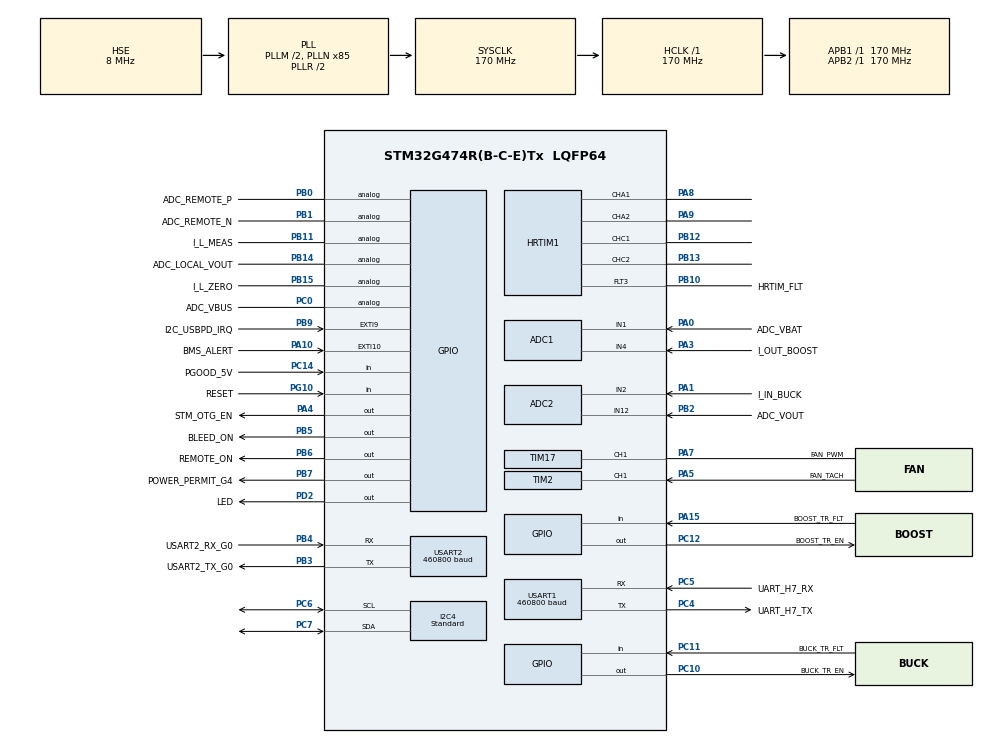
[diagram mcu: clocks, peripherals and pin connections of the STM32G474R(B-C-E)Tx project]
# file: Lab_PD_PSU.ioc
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HRTIM1.ADCTrigger1_Source1=HRTIM_ADCTRIGGEREVENT13_TIMERA_CMP3
HRTIM1.ADCTrigger_Id1=HRTIM_ADCTRIGGER_1
HRTIM1.CompareUnit1-Output_TA1TA2=HRTIM_COMPAREUNIT_1
HRTIM1.CompareUnit1-Output_TC1TC2=HRTIM_COMPAREUNIT_1
HRTIM1.CompareUnit3-Output_TA1TA2=HRTIM_COMPAREUNIT_3
HRTIM1.CompareValue1-Output_TA1TA2=2000
HRTIM1.CompareValue1-Output_TC1TC2=2000
HRTIM1.CompareValue3-Output_TA1TA2=2000
HRTIM1.DeadTimeInsertion-Output_TA1TA2=HRTIM_TIMDEADTIMEINSERTION_ENABLED
HRTIM1.DeadTimeInsertion-Output_TC1TC2=HRTIM_TIMDEADTIMEINSERTION_ENABLED
HRTIM1.FallingValue-Output_TA1TA2=5
HRTIM1.FallingValue-Output_TC1TC2=5
HRTIM1.FaultSource_FLT3=HRTIM_FAULTSOURCE_DIGITALINPUT
HRTIM1.Polarity_FLT3=HRTIM_FAULTPOLARITY_LOW
HRTIM1.NumberADCTriggerSource1=1
HRTIM1.NumberResetSource1-Output_TA1TA2=1
HRTIM1.NumberResetSource1-Output_TC1TC2=1
HRTIM1.NumberSetSource1-Output_TA1TA2=1
HRTIM1.NumberSetSource1-Output_TC1TC2=1
HRTIM1.ORingUpdateSource_ADCTrigger1=HRTIM_ADCTRIGGERUPDATE_TIMER_A
HRTIM1.Periode_TA=5440
HRTIM1.Periode_TC=5440
HRTIM1.PrescalerDead-Output_TA1TA2=HRTIM_TIMDEADTIME_PRESCALERRATIO_DIV4
HRTIM1.PrescalerDead-Output_TC1TC2=HRTIM_TIMDEADTIME_PRESCALERRATIO_DIV4
HRTIM1.ResetOutput1_Source1-Output_TA1TA2=HRTIM_OUTPUTRESET_TIMCMP1
HRTIM1.ResetOutput1_Source1-Output_TC1TC2=HRTIM_OUTPUTRESET_TIMCMP1
HRTIM1.RisingValue-Output_TA1TA2=5
HRTIM1.RisingValue-Output_TC1TC2=5
HRTIM1.SetOutput1_Source1-Output_TA1TA2=HRTIM_OUTPUTSET_TIMPER
HRTIM1.SetOutput1_Source1-Output_TC1TC2=HRTIM_OUTPUTSET_TIMPER
HRTIM1.postscaler1=0
I2C4.CustomTiming=Disabled
I2C4.I2C_Speed_Mode=I2C_Standard
I2C4.Timing=0x40B285C2
ADC1.Channel-2\#ChannelRegularConversion=ADC_CHANNEL_4
ADC1.Channel-3\#ChannelRegularConversion=ADC_CHANNEL_1
ADC1.DMAContinuousRequests=ENABLE
ADC1.ExternalTrigConv=ADC_EXTERNALTRIG_HRTIM_TRG1
ADC1.NbrOfConversion=2
ADC1.NbrOfConversionFlag=1
ADC1.OffsetNumber-2\#ChannelRegularConversion=ADC_OFFSET_NONE
ADC1.OffsetNumber-3\#ChannelRegularConversion=ADC_OFFSET_NONE
ADC1.Rank-2\#ChannelRegularConversion=1
ADC1.Rank-3\#ChannelRegularConversion=2
ADC1.SamplingTime-2\#ChannelRegularConversion=ADC_SAMPLETIME_6CYCLES_5
ADC1.SamplingTime-3\#ChannelRegularConversion=ADC_SAMPLETIME_24CYCLES_5
ADC1.master=1
ADC2.Channel-1\#ChannelRegularConversion=ADC_CHANNEL_2
ADC2.Channel-2\#ChannelRegularConversion=ADC_CHANNEL_12
ADC2.DMAContinuousRequests=ENABLE
ADC2.ExternalTrigConv=ADC_EXTERNALTRIG_HRTIM_TRG1
ADC2.NbrOfConversion=2
ADC2.NbrOfConversionFlag=1
ADC2.OffsetNumber-1\#ChannelRegularConversion=ADC_OFFSET_NONE
ADC2.OffsetNumber-2\#ChannelRegularConversion=ADC_OFFSET_NONE
ADC2.OversamplingMode=DISABLE
ADC2.Rank-1\#ChannelRegularConversion=1
ADC2.Rank-2\#ChannelRegularConversion=2
ADC2.SamplingTime-1\#ChannelRegularConversion=ADC_SAMPLETIME_6CYCLES_5
ADC2.SamplingTime-2\#ChannelRegularConversion=ADC_SAMPLETIME_24CYCLES_5
Dma.ADC1.0.Direction=DMA_PERIPH_TO_MEMORY
Dma.ADC1.0.EventEnable=DISABLE
Dma.ADC1.0.Instance=DMA1_Channel1
Dma.ADC1.0.MemDataAlignment=DMA_MDATAALIGN_HALFWORD
Dma.ADC1.0.MemInc=DMA_MINC_ENABLE
Dma.ADC1.0.Mode=DMA_CIRCULAR
Dma.ADC1.0.PeriphDataAlignment=DMA_PDATAALIGN_HALFWORD
Dma.ADC1.0.PeriphInc=DMA_PINC_DISABLE
Dma.ADC1.0.Polarity=HAL_DMAMUX_REQ_GEN_RISING
Dma.ADC1.0.Priority=DMA_PRIORITY_HIGH
Dma.ADC1.0.RequestNumber=1
Dma.ADC1.0.SignalID=NONE
Dma.ADC1.0.SyncEnable=DISABLE
Dma.ADC1.0.SyncPolarity=HAL_DMAMUX_SYNC_NO_EVENT
Dma.ADC1.0.SyncRequestNumber=1
Dma.ADC1.0.SyncSignalID=NONE
Dma.ADC2.1.Direction=DMA_PERIPH_TO_MEMORY
Dma.ADC2.1.EventEnable=DISABLE
Dma.ADC2.1.Instance=DMA1_Channel2
Dma.ADC2.1.MemDataAlignment=DMA_MDATAALIGN_HALFWORD
Dma.ADC2.1.MemInc=DMA_MINC_ENABLE
Dma.ADC2.1.Mode=DMA_CIRCULAR
Dma.ADC2.1.PeriphDataAlignment=DMA_PDATAALIGN_HALFWORD
Dma.ADC2.1.PeriphInc=DMA_PINC_DISABLE
Dma.ADC2.1.Polarity=HAL_DMAMUX_REQ_GEN_RISING
Dma.ADC2.1.Priority=DMA_PRIORITY_HIGH
Dma.ADC2.1.RequestNumber=1
Dma.ADC2.1.SignalID=NONE
Dma.ADC2.1.SyncEnable=DISABLE
Dma.ADC2.1.SyncPolarity=HAL_DMAMUX_SYNC_NO_EVENT
Dma.ADC2.1.SyncRequestNumber=1
Dma.ADC2.1.SyncSignalID=NONE
Dma.Request0=ADC1
Dma.Request1=ADC2
Mcu.Family=STM32G4
Mcu.Name=STM32G474R(B-C-E)Tx
Mcu.Package=LQFP64
NVIC.ADC1_2_IRQn=true\:0\:0\:false\:false\:true\:true\:true\:true
NVIC.DMA1_Channel1_IRQn=true\:1\:0\:true\:false\:true\:false\:true\:true
NVIC.DMA1_Channel2_IRQn=true\:1\:0\:true\:false\:true\:false\:true\:true
NVIC.EXTI15_10_IRQn=true\:5\:0\:true\:false\:true\:true\:true\:true
NVIC.EXTI9_5_IRQn=true\:5\:0\:true\:false\:true\:true\:true\:true
NVIC.I2C4_ER_IRQn=true\:6\:0\:true\:false\:true\:true\:true\:true
NVIC.I2C4_EV_IRQn=true\:6\:0\:true\:false\:true\:true\:true\:true
NVIC.PriorityGroup=NVIC_PRIORITYGROUP_4
NVIC.USART1_IRQn=true\:5\:0\:true\:false\:true\:true\:true\:true
NVIC.USART2_IRQn=true\:1\:0\:true\:false\:true\:true\:true\:true
PA0.GPIO_Label=ADC_VBAT
PA0.Mode=IN1-Single-Ended
PA0.Signal=ADC1_IN1
PA1.GPIO_Label=I_IN_BUCK
PA1.Mode=IN2-Single-Ended
PA1.Signal=ADC2_IN2
PA3.GPIO_Label=I_OUT_BOOST
PA3.Mode=IN4-Single-Ended
PA3.Signal=ADC1_IN4
PA4.GPIO_Label=STM_OTG_EN
PA4.GPIO_OutputLevel=GPIO_PIN_SET
PA4.Signal=GPIO_Output
PA5.GPIO_Label=FAN_TACH
PA5.GPIO_ModeDefaultAF=GPIO_AF1_TIM2
PA5.Mode=TIM_Input_Capture_Direct_Mode
PA5.Signal=TIM2_CH1
PA7.GPIO_Label=FAN_PWM
PA7.GPIO_ModeDefaultAF=GPIO_AF1_TIM17
PA7.Mode=TIM_PWM_Generation1_CH1
PA7.Signal=TIM17_CH1
PA8.Mode=Output_TA1TA2
PA8.Signal=HRTIM1_CHA1
PA9.Mode=Output_TA1TA2
PA9.Signal=HRTIM1_CHA2
PA10.GPIO_Label=BMS_ALERT
PA10.GPIO_ModeDefaultEXTI=GPIO_MODE_IT_RISING_FALLING
PA10.Mode=External Interrupt Mode with Rising/Falling edge trigger detection
PA10.Signal=GPXTI10
PA13.Mode=Serial_Wire
PA13.Signal=SYS_JTMS-SWDIO
PA14.Mode=Serial_Wire
PA14.Signal=SYS_JTCK-SWCLK
PA15.GPIO_Label=BOOST_TR_FLT
PA15.Signal=GPIO_Input
PB0.GPIO_Label=ADC_REMOTE_P
PB0.Signal=GPIO_Analog
PB1.GPIO_Label=ADC_REMOTE_N
PB1.Signal=GPIO_Analog
PB2.GPIO_Label=ADC_VOUT
PB2.Mode=IN12-Single-Ended
PB2.Signal=ADC2_IN12
PB3.GPIO_Label=USART2_TX_G0
PB3.Mode=Asynchronous
PB3.Signal=USART2_TX
PB4.GPIO_Label=USART2_RX_G0
PB4.Mode=Asynchronous
PB4.Signal=USART2_RX
PB5.GPIO_Label=BLEED_ON
PB5.GPIO_OutputLevel=GPIO_PIN_RESET
PB5.Signal=GPIO_Output
PB6.GPIO_Label=REMOTE_ON
PB6.GPIO_OutputLevel=GPIO_PIN_RESET
PB6.Signal=GPIO_Output
PB7.GPIO_Label=POWER_PERMIT_G4
PB7.GPIO_OutputLevel=GPIO_PIN_RESET
PB7.Signal=GPIO_Output
PB9.GPIO_Label=I2C_USBPD_IRQ
PB9.GPIO_ModeDefaultEXTI=GPIO_MODE_IT_FALLING
PB9.Mode=External Interrupt Mode with Falling edge trigger detection
PB9.Signal=GPXTI9
PB10.GPIO_Label=HRTIM_FLT
PB10.Mode=Faults3
PB10.Signal=HRTIM1_FLT3
PB11.GPIO_Label=I_L_MEAS
PB11.Signal=GPIO_Analog
PB12.Mode=Output_TC1TC2
PB12.Signal=HRTIM1_CHC1
PB13.Mode=Output_TC1TC2
PB13.Signal=HRTIM1_CHC2
PB14.GPIO_Label=ADC_LOCAL_VOUT
PB14.Signal=GPIO_Analog
PB15.GPIO_Label=I_L_ZERO
PB15.Signal=GPIO_Analog
PC0.GPIO_Label=ADC_VBUS
PC0.Signal=GPIO_Analog
PC4.GPIO_Label=UART_H7_TX
PC4.Mode=Asynchronous
PC4.Signal=USART1_TX
PC5.GPIO_Label=UART_H7_RX
PC5.Mode=Asynchronous
PC5.Signal=USART1_RX
PC6.Mode=I2C
PC6.Signal=I2C4_SCL
PC7.Mode=I2C
PC7.Signal=I2C4_SDA
PC10.GPIO_Label=BUCK_TR_EN
PC10.GPIO_OutputLevel=GPIO_PIN_RESET
PC10.Signal=GPIO_Output
PC11.GPIO_Label=BUCK_TR_FLT
PC11.Signal=GPIO_Input
PC12.GPIO_Label=BOOST_TR_EN
PC12.GPIO_OutputLevel=GPIO_PIN_RESET
PC12.Signal=GPIO_Output
PC14-OSC32_IN.GPIO_Label=PGOOD_5V
PC14-OSC32_IN.Signal=GPIO_Input
PD2.GPIO_Label=LED
PD2.GPIO_OutputLevel=GPIO_PIN_RESET
PD2.Signal=GPIO_Output
PF0-OSC_IN.Mode=HSE-External-Oscillator
PF0-OSC_IN.Signal=RCC_OSC_IN
PF1-OSC_OUT.Mode=HSE-External-Oscillator
PF1-OSC_OUT.Signal=RCC_OSC_OUT
PG10-NRST.GPIO_Label=RESET
PG10-NRST.Signal=GPIO_Input
ProjectManager.HeapSize=0x200
ProjectManager.StackSize=0x400
ProjectManager.TargetToolchain=CMake
RCC.ADC12Freq_Value=170000000
RCC.ADC345Freq_Value=170000000
RCC.AHBFreq_Value=170000000
RCC.APB1Freq_Value=170000000
RCC.APB1TimFreq_Value=170000000
RCC.APB2Freq_Value=170000000
RCC.APB2TimFreq_Value=170000000
RCC.CortexFreq_Value=170000000
RCC.EXTERNAL_CLOCK_VALUE=12288000
RCC.HCLKFreq_Value=170000000
RCC.HSE_VALUE=8000000
RCC.HSI48_VALUE=48000000
RCC.HSI_VALUE=16000000
RCC.LSE_VALUE=32768
RCC.PLLM=RCC_PLLM_DIV2
RCC.PLLN=85
RCC.PLLSourceVirtual=RCC_PLLSOURCE_HSE
RCC.SYSCLKFreq_VALUE=170000000
RCC.SYSCLKSource=RCC_SYSCLKSOURCE_PLLCLK
RCC.USBFreq_Value=170000000
RCC.VCOOutputFreq_Value=340000000
USART1.BaudRate=460800
USART1.VirtualMode-Asynchronous=VM_ASYNC
USART2.BaudRate=460800
USART2.VirtualMode-Asynchronous=VM_ASYNC
VP_HRTIM1_VS_hrtimMasterTimerNoOutput.Mode=MasterTimer
VP_SYS_VS_DBSignals.Mode=DisableDeadBatterySignals
board=custom
HRTIM1.Fault_Line3=HRTIM_FAULT_3
HRTIM1.Source_FLT3=HRTIM_FAULTSOURCE_DIGITALINPUT
HRTIM1.Filter_FLT3=HRTIM_FAULTFILTER_NONE
HRTIM1.Lock_FLT3=HRTIM_FAULTLOCK_READWRITE
HRTIM1.NumberFaultEnable-Output_TA1TA2=1
HRTIM1.NumberFaultEnable-Output_TC1TC2=1
HRTIM1.FaultEnable1-Output_TA1TA2=HRTIM_TIMFAULTENABLE_FAULT3
HRTIM1.FaultEnable1-Output_TC1TC2=HRTIM_TIMFAULTENABLE_FAULT3
HRTIM1.FaultLevel1-Output_TA1TA2=HRTIM_OUTPUTFAULTLEVEL_INACTIVE
HRTIM1.FaultLevel1-Output_TC1TC2=HRTIM_OUTPUTFAULTLEVEL_INACTIVE
HRTIM1.FaultLevel2-Output_TA1TA2=HRTIM_OUTPUTFAULTLEVEL_INACTIVE
HRTIM1.FaultLevel2-Output_TC1TC2=HRTIM_OUTPUTFAULTLEVEL_INACTIVE
HRTIM1.FaultLock-Output_TA1TA2=HRTIM_TIMFAULTLOCK_READWRITE
HRTIM1.FaultLock-Output_TC1TC2=HRTIM_TIMFAULTLOCK_READWRITE
PA5.GPIO_PuPd=GPIO_PULLUP
PA10.GPIO_PuPd=GPIO_PULLUP
PA15.GPIO_PuPd=GPIO_PULLUP
PB3.GPIO_PuPd=GPIO_PULLUP
PB4.GPIO_PuPd=GPIO_PULLUP
PB9.GPIO_PuPd=GPIO_PULLUP
PC11.GPIO_PuPd=GPIO_PULLUP
PC14-OSC32_IN.GPIO_PuPd=GPIO_PULLUP
PB10.GPIO_PuPd=GPIO_PULLUP
PC6.GPIO_PuPd=GPIO_PULLUP
PC6.GPIO_Speed=GPIO_SPEED_FREQ_VERY_HIGH
PC7.GPIO_PuPd=GPIO_PULLUP
PC7.GPIO_Speed=GPIO_SPEED_FREQ_VERY_HIGH

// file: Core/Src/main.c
/* USER CODE BEGIN Header */
/* USER CODE END Header */
#include "main.h"

/* USER CODE BEGIN Includes */
#include "app.h"
#include "board_mx.h"
#include "board_rev.h"
#include "ldo_link.h"
#include "ldo_prereg.h"
#include "host_link.h"
#include "power_stage.h"
/* USER CODE END Includes */

ADC_HandleTypeDef hadc1;
ADC_HandleTypeDef hadc2;
DMA_HandleTypeDef hdma_adc1;
DMA_HandleTypeDef hdma_adc2;

HRTIM_HandleTypeDef hhrtim1;

I2C_HandleTypeDef hi2c4;

UART_HandleTypeDef huart1;
UART_HandleTypeDef huart2;

void SystemClock_Config(void);
static void MX_GPIO_Init(void);
static void MX_DMA_Init(void);
static void MX_I2C4_Init(void);
static void MX_USART1_UART_Init(void);
static void MX_USART2_UART_Init(void);
static void MX_ADC1_Init(void);
static void MX_ADC2_Init(void);
static void MX_HRTIM1_Init(void);

int main(void)
{

  /* MCU Configuration--------------------------------------------------------*/

  /* Reset of all peripherals, Initializes the Flash interface and the Systick. */
  HAL_Init();

  /* Configure the system clock */
  SystemClock_Config();

  /* USER CODE BEGIN SysInit */
  /* Stable hook if CubeMX rewrites SystemClock_Config without OscConfig USER CODE. */
  if (BoardMx_EnsureSysclkPll() != HAL_OK)
  {
    Error_Handler();
  }
  /* USER CODE END SysInit */

  /* Initialize all configured peripherals */
  MX_GPIO_Init();
  BoardMx_EarlyLedPulse(4U);
  MX_DMA_Init();
  MX_I2C4_Init();
  MX_USART1_UART_Init();
  MX_USART2_UART_Init();
  MX_ADC1_Init();
  MX_ADC2_Init();
  MX_HRTIM1_Init();
  /* USER CODE BEGIN 2 */
  App_Init(&hhrtim1, &hadc1, &hadc2, &huart1, &hi2c4);
    HostLink_Init(&huart1);
    LdoLink_Init(&huart2);
    LdoPrereg_Init();

  /* USER CODE END 2 */

  /* Infinite loop */
  /* USER CODE BEGIN WHILE */
  while (1)
  {
      App_Run();
  }
    /* USER CODE END WHILE */

}

void SystemClock_Config(void)
{
  RCC_OscInitTypeDef RCC_OscInitStruct = {0};
  RCC_ClkInitTypeDef RCC_ClkInitStruct = {0};

  /** Configure the main internal regulator output voltage
  */
  HAL_PWREx_ControlVoltageScaling(PWR_REGULATOR_VOLTAGE_SCALE1_BOOST);

  /** Initializes the RCC Oscillators according to the specified parameters
  * in the RCC_OscInitTypeDef structure.
  */
  RCC_OscInitStruct.OscillatorType = RCC_OSCILLATORTYPE_HSE;
  RCC_OscInitStruct.HSEState = RCC_HSE_ON;
  RCC_OscInitStruct.PLL.PLLState = RCC_PLL_ON;
  RCC_OscInitStruct.PLL.PLLSource = RCC_PLLSOURCE_HSE;
  RCC_OscInitStruct.PLL.PLLM = RCC_PLLM_DIV2;
  RCC_OscInitStruct.PLL.PLLN = 85;
  RCC_OscInitStruct.PLL.PLLP = RCC_PLLP_DIV2;
  RCC_OscInitStruct.PLL.PLLQ = RCC_PLLQ_DIV2;
  RCC_OscInitStruct.PLL.PLLR = RCC_PLLR_DIV2;
  if (HAL_RCC_OscConfig(&RCC_OscInitStruct) != HAL_OK)
  {
    /* USER CODE BEGIN Clock_OscConfig_Error */
    /* Keep User Code: CubeMX may wrap Error_Handler here; keep the HSI PLL call. */
    if (BoardMx_StartHsiPll() != HAL_OK)
    {
      Error_Handler();
    }
    /* USER CODE END Clock_OscConfig_Error */
  }

  /** Initializes the CPU, AHB and APB buses clocks
  */
  RCC_ClkInitStruct.ClockType = RCC_CLOCKTYPE_HCLK|RCC_CLOCKTYPE_SYSCLK
                              |RCC_CLOCKTYPE_PCLK1|RCC_CLOCKTYPE_PCLK2;
  RCC_ClkInitStruct.SYSCLKSource = RCC_SYSCLKSOURCE_PLLCLK;
  RCC_ClkInitStruct.AHBCLKDivider = RCC_SYSCLK_DIV1;
  RCC_ClkInitStruct.APB1CLKDivider = RCC_HCLK_DIV1;
  RCC_ClkInitStruct.APB2CLKDivider = RCC_HCLK_DIV1;

  if (HAL_RCC_ClockConfig(&RCC_ClkInitStruct, FLASH_LATENCY_4) != HAL_OK)
  {
    Error_Handler();
  }
}

static void MX_ADC1_Init(void)
{

  ADC_MultiModeTypeDef multimode = {0};
  ADC_ChannelConfTypeDef sConfig = {0};

  /* USER CODE BEGIN ADC1_Init 1 */
  /* Kernel 42.5 MHz (PCLK/4). HAL has no ASYNC_DIV3; DIV2=85 MHz is over 12-bit spec. */
  /* USER CODE END ADC1_Init 1 */

  /** Common config
  */
  hadc1.Instance = ADC1;
  hadc1.Init.ClockPrescaler = ADC_CLOCK_SYNC_PCLK_DIV4;
  hadc1.Init.Resolution = ADC_RESOLUTION_12B;
  hadc1.Init.DataAlign = ADC_DATAALIGN_RIGHT;
  hadc1.Init.GainCompensation = 0;
  hadc1.Init.ScanConvMode = ADC_SCAN_ENABLE;
  hadc1.Init.EOCSelection = ADC_EOC_SINGLE_CONV;
  hadc1.Init.LowPowerAutoWait = DISABLE;
  hadc1.Init.ContinuousConvMode = DISABLE;
  hadc1.Init.NbrOfConversion = 2;
  hadc1.Init.DiscontinuousConvMode = DISABLE;
  hadc1.Init.ExternalTrigConv = ADC_EXTERNALTRIG_HRTIM_TRG1;
  hadc1.Init.ExternalTrigConvEdge = ADC_EXTERNALTRIGCONVEDGE_RISING;
  hadc1.Init.DMAContinuousRequests = ENABLE;
  hadc1.Init.Overrun = ADC_OVR_DATA_PRESERVED;
  hadc1.Init.OversamplingMode = DISABLE;
  if (HAL_ADC_Init(&hadc1) != HAL_OK)
  {
    Error_Handler();
  }

  /** Configure the ADC multi-mode
  */
  multimode.Mode = ADC_MODE_INDEPENDENT;
  if (HAL_ADCEx_MultiModeConfigChannel(&hadc1, &multimode) != HAL_OK)
  {
    Error_Handler();
  }

  /** Configure Regular Channel
  */
  sConfig.Channel = ADC_CHANNEL_4;
  sConfig.Rank = ADC_REGULAR_RANK_1;
  sConfig.SamplingTime = ADC_SAMPLETIME_6CYCLES_5;
  sConfig.SingleDiff = ADC_SINGLE_ENDED;
  sConfig.OffsetNumber = ADC_OFFSET_NONE;
  sConfig.Offset = 0;
  if (HAL_ADC_ConfigChannel(&hadc1, &sConfig) != HAL_OK)
  {
    Error_Handler();
  }

  /** Configure Regular Channel
  */
  sConfig.Channel = ADC_CHANNEL_1;
  sConfig.Rank = ADC_REGULAR_RANK_2;
  sConfig.SamplingTime = ADC_SAMPLETIME_24CYCLES_5;
  if (HAL_ADC_ConfigChannel(&hadc1, &sConfig) != HAL_OK)
  {
    Error_Handler();
  }
  /* USER CODE BEGIN ADC1_Init 2 */
  /* Rank 1 PA3 ADC1_IN4 I_OUT_BOOST 6.5 cyc (~153 ns S/H at CMP3).
   * Rank 2 PA0 ADC1_IN1 VIN 24.5 cyc (~576 ns for 51k/4.7k Thevenin ~4.3 kΩ).
   * Dual scan 6.5+12.5 + 24.5+12.5 = 56 cyc ≈ 1.32 µs < 2.0 µs PWM period.
   * I_IN_BUCK is ADC2 rank 1 so both INA296 convert in parallel. */
  /* USER CODE END ADC1_Init 2 */

}

static void MX_ADC2_Init(void)
{

  ADC_ChannelConfTypeDef sConfig = {0};

  /* USER CODE BEGIN ADC2_Init 1 */
  /* Same 42.5 MHz kernel as ADC1. */
  /* USER CODE END ADC2_Init 1 */

  /** Common config
  */
  hadc2.Instance = ADC2;
  hadc2.Init.ClockPrescaler = ADC_CLOCK_SYNC_PCLK_DIV4;
  hadc2.Init.Resolution = ADC_RESOLUTION_12B;
  hadc2.Init.DataAlign = ADC_DATAALIGN_RIGHT;
  hadc2.Init.GainCompensation = 0;
  hadc2.Init.ScanConvMode = ADC_SCAN_ENABLE;
  hadc2.Init.EOCSelection = ADC_EOC_SINGLE_CONV;
  hadc2.Init.LowPowerAutoWait = DISABLE;
  hadc2.Init.ContinuousConvMode = DISABLE;
  hadc2.Init.NbrOfConversion = 2;
  hadc2.Init.DiscontinuousConvMode = DISABLE;
  hadc2.Init.ExternalTrigConv = ADC_EXTERNALTRIG_HRTIM_TRG1;
  hadc2.Init.ExternalTrigConvEdge = ADC_EXTERNALTRIGCONVEDGE_RISING;
  hadc2.Init.DMAContinuousRequests = ENABLE;
  hadc2.Init.Overrun = ADC_OVR_DATA_PRESERVED;
  hadc2.Init.OversamplingMode = DISABLE;
  if (HAL_ADC_Init(&hadc2) != HAL_OK)
  {
    Error_Handler();
  }

  /** Configure Regular Channel
  */
  sConfig.Channel = ADC_CHANNEL_2;
  sConfig.Rank = ADC_REGULAR_RANK_1;
  sConfig.SamplingTime = ADC_SAMPLETIME_6CYCLES_5;
  sConfig.SingleDiff = ADC_SINGLE_ENDED;
  sConfig.OffsetNumber = ADC_OFFSET_NONE;
  sConfig.Offset = 0;
  if (HAL_ADC_ConfigChannel(&hadc2, &sConfig) != HAL_OK)
  {
    Error_Handler();
  }

  /** Configure Regular Channel
  */
  sConfig.Channel = ADC_CHANNEL_12;
  sConfig.Rank = ADC_REGULAR_RANK_2;
  sConfig.SamplingTime = ADC_SAMPLETIME_24CYCLES_5;
  if (HAL_ADC_ConfigChannel(&hadc2, &sConfig) != HAL_OK)
  {
    Error_Handler();
  }
  /* USER CODE BEGIN ADC2_Init 2 */
  /* Rank 1 PA1 ADC2_IN2 I_IN_BUCK 6.5 cyc. Rank 2 PB2 ADC2_IN12 VOUT 24.5 cyc.
   * DMA slots 0/1 in measurements.c. ACS37100 I_L_MEAS is not sampled. */
  /* USER CODE END ADC2_Init 2 */

}

static void MX_HRTIM1_Init(void)
{

  HRTIM_ADCTriggerCfgTypeDef pADCTriggerCfg = {0};
  HRTIM_TimeBaseCfgTypeDef pTimeBaseCfg = {0};
  HRTIM_TimerCfgTypeDef pTimerCfg = {0};
  HRTIM_TimerCtlTypeDef pTimerCtl = {0};
  HRTIM_CompareCfgTypeDef pCompareCfg = {0};
  HRTIM_DeadTimeCfgTypeDef pDeadTimeCfg = {0};
  HRTIM_OutputCfgTypeDef pOutputCfg = {0};
  uint32_t pwm_period_ticks = PowerStage_GetConfiguredPeriodTicks();
  uint32_t pwm_init_compare_ticks = PowerStage_GetSafeInitCompareTicks();
  uint32_t adc_trigger_ticks = PowerStage_GetConfiguredAdcTriggerTicks();

  hhrtim1.Instance = HRTIM1;
  hhrtim1.Init.HRTIMInterruptResquests = HRTIM_IT_NONE;
  hhrtim1.Init.SyncOptions = HRTIM_SYNCOPTION_NONE;
  if (HAL_HRTIM_Init(&hhrtim1) != HAL_OK)
  {
    Error_Handler();
  }
  if (HAL_HRTIM_DLLCalibrationStart(&hhrtim1, HRTIM_CALIBRATIONRATE_3) != HAL_OK)
  {
    Error_Handler();
  }
  if (HAL_HRTIM_PollForDLLCalibration(&hhrtim1, 10) != HAL_OK)
  {
    Error_Handler();
  }
  pADCTriggerCfg.UpdateSource = HRTIM_ADCTRIGGERUPDATE_TIMER_A;
  pADCTriggerCfg.Trigger = HRTIM_ADCTRIGGEREVENT13_TIMERA_CMP3;
  if (HAL_HRTIM_ADCTriggerConfig(&hhrtim1, HRTIM_ADCTRIGGER_1, &pADCTriggerCfg) != HAL_OK)
  {
    Error_Handler();
  }
  if (HAL_HRTIM_ADCPostScalerConfig(&hhrtim1, HRTIM_ADCTRIGGER_1, 0) != HAL_OK)
  {
    Error_Handler();
  }
  pTimeBaseCfg.Period = pwm_period_ticks;
  pTimeBaseCfg.RepetitionCounter = 0x00;
  pTimeBaseCfg.PrescalerRatio = POWER_STAGE_HRTIM_PRESCALER_RATIO;
  pTimeBaseCfg.Mode = HRTIM_MODE_CONTINUOUS;
  if (HAL_HRTIM_TimeBaseConfig(&hhrtim1, HRTIM_TIMERINDEX_MASTER, &pTimeBaseCfg) != HAL_OK)
  {
    Error_Handler();
  }
  pTimerCfg.InterruptRequests = HRTIM_MASTER_IT_NONE;
  pTimerCfg.DMARequests = HRTIM_MASTER_DMA_NONE;
  pTimerCfg.DMASrcAddress = 0x0000;
  pTimerCfg.DMADstAddress = 0x0000;
  pTimerCfg.DMASize = 0x1;
  pTimerCfg.HalfModeEnable = HRTIM_HALFMODE_DISABLED;
  pTimerCfg.InterleavedMode = HRTIM_INTERLEAVED_MODE_DISABLED;
  pTimerCfg.StartOnSync = HRTIM_SYNCSTART_DISABLED;
  pTimerCfg.ResetOnSync = HRTIM_SYNCRESET_DISABLED;
  pTimerCfg.DACSynchro = HRTIM_DACSYNC_NONE;
  pTimerCfg.PreloadEnable = HRTIM_PRELOAD_DISABLED;
  pTimerCfg.UpdateGating = HRTIM_UPDATEGATING_INDEPENDENT;
  pTimerCfg.BurstMode = HRTIM_TIMERBURSTMODE_MAINTAINCLOCK;
  pTimerCfg.RepetitionUpdate = HRTIM_UPDATEONREPETITION_DISABLED;
  pTimerCfg.ReSyncUpdate = HRTIM_TIMERESYNC_UPDATE_UNCONDITIONAL;
  if (HAL_HRTIM_WaveformTimerConfig(&hhrtim1, HRTIM_TIMERINDEX_MASTER, &pTimerCfg) != HAL_OK)
  {
    Error_Handler();
  }
  pTimeBaseCfg.Period = pwm_period_ticks;
  if (HAL_HRTIM_TimeBaseConfig(&hhrtim1, HRTIM_TIMERINDEX_TIMER_A, &pTimeBaseCfg) != HAL_OK)
  {
    Error_Handler();
  }
  pTimerCtl.UpDownMode = HRTIM_TIMERUPDOWNMODE_UP;
  pTimerCtl.GreaterCMP3 = HRTIM_TIMERGTCMP3_EQUAL;
  pTimerCtl.GreaterCMP1 = HRTIM_TIMERGTCMP1_EQUAL;
  pTimerCtl.DualChannelDacEnable = HRTIM_TIMER_DCDE_DISABLED;
  if (HAL_HRTIM_WaveformTimerControl(&hhrtim1, HRTIM_TIMERINDEX_TIMER_A, &pTimerCtl) != HAL_OK)
  {
    Error_Handler();
  }
  pTimerCfg.InterruptRequests = HRTIM_TIM_IT_NONE;
  pTimerCfg.DMARequests = HRTIM_TIM_DMA_NONE;
  pTimerCfg.PushPull = HRTIM_TIMPUSHPULLMODE_DISABLED;
  pTimerCfg.FaultEnable = HRTIM_TIMFAULTENABLE_FAULT3;
  pTimerCfg.FaultLock = HRTIM_TIMFAULTLOCK_READWRITE;
  pTimerCfg.DeadTimeInsertion = HRTIM_TIMDEADTIMEINSERTION_ENABLED;
  pTimerCfg.DelayedProtectionMode = HRTIM_TIMER_A_B_C_DELAYEDPROTECTION_DISABLED;
  pTimerCfg.UpdateTrigger = HRTIM_TIMUPDATETRIGGER_NONE;
  pTimerCfg.ResetTrigger = HRTIM_TIMRESETTRIGGER_NONE;
  pTimerCfg.ResetUpdate = HRTIM_TIMUPDATEONRESET_DISABLED;
  if (HAL_HRTIM_WaveformTimerConfig(&hhrtim1, HRTIM_TIMERINDEX_TIMER_A, &pTimerCfg) != HAL_OK)
  {
    Error_Handler();
  }
  if (HAL_HRTIM_WaveformTimerConfig(&hhrtim1, HRTIM_TIMERINDEX_TIMER_C, &pTimerCfg) != HAL_OK)
  {
    Error_Handler();
  }
  pCompareCfg.CompareValue = pwm_init_compare_ticks;
  if (HAL_HRTIM_WaveformCompareConfig(&hhrtim1, HRTIM_TIMERINDEX_TIMER_A, HRTIM_COMPAREUNIT_1, &pCompareCfg) != HAL_OK)
  {
    Error_Handler();
  }
  pCompareCfg.CompareValue = adc_trigger_ticks;
  if (HAL_HRTIM_WaveformCompareConfig(&hhrtim1, HRTIM_TIMERINDEX_TIMER_A, HRTIM_COMPAREUNIT_3, &pCompareCfg) != HAL_OK)
  {
    Error_Handler();
  }
  pDeadTimeCfg.Prescaler = HRTIM_TIMDEADTIME_PRESCALERRATIO_DIV4;
  pDeadTimeCfg.RisingValue = 5;
  pDeadTimeCfg.RisingSign = HRTIM_TIMDEADTIME_RISINGSIGN_POSITIVE;
  pDeadTimeCfg.RisingLock = HRTIM_TIMDEADTIME_RISINGLOCK_WRITE;
  pDeadTimeCfg.RisingSignLock = HRTIM_TIMDEADTIME_RISINGSIGNLOCK_WRITE;
  pDeadTimeCfg.FallingValue = 5;
  pDeadTimeCfg.FallingSign = HRTIM_TIMDEADTIME_FALLINGSIGN_POSITIVE;
  pDeadTimeCfg.FallingLock = HRTIM_TIMDEADTIME_FALLINGLOCK_WRITE;
  pDeadTimeCfg.FallingSignLock = HRTIM_TIMDEADTIME_FALLINGSIGNLOCK_WRITE;
  if (HAL_HRTIM_DeadTimeConfig(&hhrtim1, HRTIM_TIMERINDEX_TIMER_A, &pDeadTimeCfg) != HAL_OK)
  {
    Error_Handler();
  }
  if (HAL_HRTIM_DeadTimeConfig(&hhrtim1, HRTIM_TIMERINDEX_TIMER_C, &pDeadTimeCfg) != HAL_OK)
  {
    Error_Handler();
  }
  pOutputCfg.Polarity = HRTIM_OUTPUTPOLARITY_HIGH;
  pOutputCfg.SetSource = HRTIM_OUTPUTSET_TIMPER;
  pOutputCfg.ResetSource = HRTIM_OUTPUTRESET_TIMCMP1;
  pOutputCfg.IdleMode = HRTIM_OUTPUTIDLEMODE_NONE;
  pOutputCfg.IdleLevel = HRTIM_OUTPUTIDLELEVEL_INACTIVE;
  pOutputCfg.FaultLevel = HRTIM_OUTPUTFAULTLEVEL_INACTIVE;
  pOutputCfg.ChopperModeEnable = HRTIM_OUTPUTCHOPPERMODE_DISABLED;
  pOutputCfg.BurstModeEntryDelayed = HRTIM_OUTPUTBURSTMODEENTRY_REGULAR;
  if (HAL_HRTIM_WaveformOutputConfig(&hhrtim1, HRTIM_TIMERINDEX_TIMER_A, HRTIM_OUTPUT_TA1, &pOutputCfg) != HAL_OK)
  {
    Error_Handler();
  }
  if (HAL_HRTIM_WaveformOutputConfig(&hhrtim1, HRTIM_TIMERINDEX_TIMER_C, HRTIM_OUTPUT_TC1, &pOutputCfg) != HAL_OK)
  {
    Error_Handler();
  }
  pOutputCfg.SetSource = HRTIM_OUTPUTSET_NONE;
  pOutputCfg.ResetSource = HRTIM_OUTPUTRESET_NONE;
  if (HAL_HRTIM_WaveformOutputConfig(&hhrtim1, HRTIM_TIMERINDEX_TIMER_A, HRTIM_OUTPUT_TA2, &pOutputCfg) != HAL_OK)
  {
    Error_Handler();
  }
  if (HAL_HRTIM_WaveformOutputConfig(&hhrtim1, HRTIM_TIMERINDEX_TIMER_C, HRTIM_OUTPUT_TC2, &pOutputCfg) != HAL_OK)
  {
    Error_Handler();
  }
  if (HAL_HRTIM_TimeBaseConfig(&hhrtim1, HRTIM_TIMERINDEX_TIMER_C, &pTimeBaseCfg) != HAL_OK)
  {
    Error_Handler();
  }
  if (HAL_HRTIM_WaveformTimerControl(&hhrtim1, HRTIM_TIMERINDEX_TIMER_C, &pTimerCtl) != HAL_OK)
  {
    Error_Handler();
  }
  pCompareCfg.CompareValue = pwm_init_compare_ticks;
  if (HAL_HRTIM_WaveformCompareConfig(&hhrtim1, HRTIM_TIMERINDEX_TIMER_C, HRTIM_COMPAREUNIT_1, &pCompareCfg) != HAL_OK)
  {
    Error_Handler();
  }
  /* USER CODE BEGIN HRTIM1_Init 2 */
  /* Postscaler 0: ADC every PWM period. Dual scan fits in 2 µs so skip is unused. */
  BoardMx_ApplyHrtimFault(&hhrtim1);
  /* USER CODE END HRTIM1_Init 2 */
  HAL_HRTIM_MspPostInit(&hhrtim1);

}

static void MX_I2C4_Init(void)
{

  hi2c4.Instance = I2C4;
  hi2c4.Init.Timing = 0x40B285C2;
  hi2c4.Init.OwnAddress1 = 0;
  hi2c4.Init.AddressingMode = I2C_ADDRESSINGMODE_7BIT;
  hi2c4.Init.DualAddressMode = I2C_DUALADDRESS_DISABLE;
  hi2c4.Init.OwnAddress2 = 0;
  hi2c4.Init.OwnAddress2Masks = I2C_OA2_NOMASK;
  hi2c4.Init.GeneralCallMode = I2C_GENERALCALL_DISABLE;
  hi2c4.Init.NoStretchMode = I2C_NOSTRETCH_DISABLE;
  if (HAL_I2C_Init(&hi2c4) != HAL_OK)
  {
    Error_Handler();
  }

  /** Configure Analogue filter
  */
  if (HAL_I2CEx_ConfigAnalogFilter(&hi2c4, I2C_ANALOGFILTER_ENABLE) != HAL_OK)
  {
    Error_Handler();
  }

  /** Configure Digital filter
  */
  if (HAL_I2CEx_ConfigDigitalFilter(&hi2c4, 0) != HAL_OK)
  {
    Error_Handler();
  }

}

static void MX_USART2_UART_Init(void)
{

  huart2.Instance = USART2;
  huart2.Init.BaudRate = 460800;
  huart2.Init.WordLength = UART_WORDLENGTH_8B;
  huart2.Init.StopBits = UART_STOPBITS_1;
  huart2.Init.Parity = UART_PARITY_NONE;
  huart2.Init.Mode = UART_MODE_TX_RX;
  huart2.Init.HwFlowCtl = UART_HWCONTROL_NONE;
  huart2.Init.OverSampling = UART_OVERSAMPLING_16;
  huart2.Init.OneBitSampling = UART_ONE_BIT_SAMPLE_DISABLE;
  huart2.Init.ClockPrescaler = UART_PRESCALER_DIV1;
#if (BOARD_USART2_G0_PIN_SWAP != 0U)
  /* SWAP exchanges USART data path on PB3/PB4 pads. */
  huart2.AdvancedInit.AdvFeatureInit = UART_ADVFEATURE_SWAP_INIT;
  huart2.AdvancedInit.Swap = UART_ADVFEATURE_SWAP_ENABLE;
#else
  huart2.AdvancedInit.AdvFeatureInit = UART_ADVFEATURE_NO_INIT;
#endif
  if (HAL_UART_Init(&huart2) != HAL_OK)
  {
    Error_Handler();
  }
  if (HAL_UARTEx_SetTxFifoThreshold(&huart2, UART_TXFIFO_THRESHOLD_1_8) != HAL_OK)
  {
    Error_Handler();
  }
  if (HAL_UARTEx_SetRxFifoThreshold(&huart2, UART_RXFIFO_THRESHOLD_1_8) != HAL_OK)
  {
    Error_Handler();
  }
  if (HAL_UARTEx_DisableFifoMode(&huart2) != HAL_OK)
  {
    Error_Handler();
  }
  /* USER CODE BEGIN USART2_Init 2 */
  /* 460800 DMA: leave the FIFO disabled. RX is circular DMA, not byte IRQs. */
  /* USER CODE END USART2_Init 2 */

}

static void MX_USART1_UART_Init(void)
{

  huart1.Instance = USART1;
  huart1.Init.BaudRate = 460800;
  huart1.Init.WordLength = UART_WORDLENGTH_8B;
  huart1.Init.StopBits = UART_STOPBITS_1;
  huart1.Init.Parity = UART_PARITY_NONE;
  huart1.Init.Mode = UART_MODE_TX_RX;
  huart1.Init.HwFlowCtl = UART_HWCONTROL_NONE;
  huart1.Init.OverSampling = UART_OVERSAMPLING_16;
  huart1.Init.OneBitSampling = UART_ONE_BIT_SAMPLE_DISABLE;
  huart1.Init.ClockPrescaler = UART_PRESCALER_DIV1;
  huart1.AdvancedInit.AdvFeatureInit = UART_ADVFEATURE_NO_INIT;
  if (HAL_UART_Init(&huart1) != HAL_OK)
  {
    Error_Handler();
  }
  if (HAL_UARTEx_SetTxFifoThreshold(&huart1, UART_TXFIFO_THRESHOLD_1_8) != HAL_OK)
  {
    Error_Handler();
  }
  if (HAL_UARTEx_SetRxFifoThreshold(&huart1, UART_TXFIFO_THRESHOLD_1_8) != HAL_OK)
  {
    Error_Handler();
  }
  if (HAL_UARTEx_DisableFifoMode(&huart1) != HAL_OK)
  {
    Error_Handler();
  }
  /* USER CODE BEGIN USART1_Init 2 */
  /* 460800 DMA: leave the FIFO disabled. */
  /* USER CODE END USART1_Init 2 */

}

static void MX_DMA_Init(void)
{

  /* DMA controller clock enable */
  __HAL_RCC_DMAMUX1_CLK_ENABLE();
  __HAL_RCC_DMA1_CLK_ENABLE();

  /* DMA interrupt init */
  /* DMA1_Channel1_IRQn interrupt configuration */
  HAL_NVIC_SetPriority(DMA1_Channel1_IRQn, 1, 0);
  HAL_NVIC_EnableIRQ(DMA1_Channel1_IRQn);
  /* DMA1_Channel2_IRQn interrupt configuration */
  HAL_NVIC_SetPriority(DMA1_Channel2_IRQn, 1, 0);
  HAL_NVIC_EnableIRQ(DMA1_Channel2_IRQn);

}

static void MX_GPIO_Init(void)
{
  GPIO_InitTypeDef GPIO_InitStruct = {0};

  /* GPIO Ports Clock Enable */
  __HAL_RCC_GPIOC_CLK_ENABLE();
  __HAL_RCC_GPIOF_CLK_ENABLE();
  __HAL_RCC_GPIOG_CLK_ENABLE();
  __HAL_RCC_GPIOA_CLK_ENABLE();
  __HAL_RCC_GPIOB_CLK_ENABLE();
  __HAL_RCC_GPIOD_CLK_ENABLE();

  HAL_GPIO_WritePin(LED_GPIO_Port, LED_Pin, GPIO_PIN_RESET);
  /* BQ25731 OTG/VAP/FRS starts LOW.  Power manager raises it only after a
   * completed USB Source contract (SOURCE ONLY or AUTO), never in AttachWait. */
  HAL_GPIO_WritePin(STM_OTG_EN_GPIO_Port, STM_OTG_EN_Pin, GPIO_PIN_RESET);
  HAL_GPIO_WritePin(GPIOC, BUCK_TR_EN_Pin|BOOST_TR_EN_Pin, GPIO_PIN_RESET);
  HAL_GPIO_WritePin(GPIOB, BLEED_ON_Pin|REMOTE_ON_Pin|POWER_PERMIT_G4_Pin, GPIO_PIN_RESET);

  GPIO_InitStruct.Pin = LED_Pin;
  GPIO_InitStruct.Mode = GPIO_MODE_OUTPUT_PP;
  GPIO_InitStruct.Pull = GPIO_NOPULL;
  GPIO_InitStruct.Speed = GPIO_SPEED_FREQ_LOW;
  HAL_GPIO_Init(LED_GPIO_Port, &GPIO_InitStruct);

  GPIO_InitStruct.Pin = RESET_Pin;
  GPIO_InitStruct.Mode = GPIO_MODE_INPUT;
  GPIO_InitStruct.Pull = GPIO_NOPULL;
  HAL_GPIO_Init(RESET_GPIO_Port, &GPIO_InitStruct);

  GPIO_InitStruct.Pin = PGOOD_5V_Pin;
  GPIO_InitStruct.Mode = GPIO_MODE_INPUT;
  GPIO_InitStruct.Pull = GPIO_PULLUP;
  HAL_GPIO_Init(PGOOD_5V_GPIO_Port, &GPIO_InitStruct);

  GPIO_InitStruct.Pin = STM_OTG_EN_Pin;
  GPIO_InitStruct.Mode = GPIO_MODE_OUTPUT_PP;
  GPIO_InitStruct.Pull = GPIO_NOPULL;
  GPIO_InitStruct.Speed = GPIO_SPEED_FREQ_LOW;
  HAL_GPIO_Init(STM_OTG_EN_GPIO_Port, &GPIO_InitStruct);

  GPIO_InitStruct.Pin = BOOST_TR_FLT_Pin;
  GPIO_InitStruct.Mode = GPIO_MODE_INPUT;
  GPIO_InitStruct.Pull = GPIO_PULLUP;
  HAL_GPIO_Init(GPIOA, &GPIO_InitStruct);

  GPIO_InitStruct.Pin = BMS_ALERT_Pin;
  GPIO_InitStruct.Mode = GPIO_MODE_IT_RISING_FALLING;
  /* ALERT is unused (Hi-Z) until configured — pull-down avoids false high. */
  GPIO_InitStruct.Pull = GPIO_PULLDOWN;
  HAL_GPIO_Init(BMS_ALERT_GPIO_Port, &GPIO_InitStruct);

  GPIO_InitStruct.Pin = BUCK_TR_EN_Pin|BOOST_TR_EN_Pin;
  GPIO_InitStruct.Mode = GPIO_MODE_OUTPUT_PP;
  GPIO_InitStruct.Pull = GPIO_NOPULL;
  GPIO_InitStruct.Speed = GPIO_SPEED_FREQ_LOW;
  HAL_GPIO_Init(GPIOC, &GPIO_InitStruct);

  GPIO_InitStruct.Pin = BUCK_TR_FLT_Pin;
  GPIO_InitStruct.Mode = GPIO_MODE_INPUT;
  GPIO_InitStruct.Pull = GPIO_PULLUP;
  HAL_GPIO_Init(BUCK_TR_FLT_GPIO_Port, &GPIO_InitStruct);

  GPIO_InitStruct.Pin = BLEED_ON_Pin|REMOTE_ON_Pin;
  GPIO_InitStruct.Mode = GPIO_MODE_OUTPUT_PP;
  GPIO_InitStruct.Pull = GPIO_NOPULL;
  GPIO_InitStruct.Speed = GPIO_SPEED_FREQ_LOW;
  HAL_GPIO_Init(GPIOB, &GPIO_InitStruct);

  GPIO_InitStruct.Pin = POWER_PERMIT_G4_Pin;
  GPIO_InitStruct.Mode = GPIO_MODE_OUTPUT_PP;
  GPIO_InitStruct.Pull = GPIO_NOPULL;
  GPIO_InitStruct.Speed = GPIO_SPEED_FREQ_LOW;
  HAL_GPIO_Init(POWER_PERMIT_G4_GPIO_Port, &GPIO_InitStruct);

  GPIO_InitStruct.Pin = I2C_USBPD_IRQ_Pin;
  GPIO_InitStruct.Mode = GPIO_MODE_IT_FALLING;
  GPIO_InitStruct.Pull = GPIO_PULLUP;
  HAL_GPIO_Init(I2C_USBPD_IRQ_GPIO_Port, &GPIO_InitStruct);

  GPIO_InitStruct.Pin = I_IN_BUCK_Pin;
  GPIO_InitStruct.Mode = GPIO_MODE_ANALOG;
  GPIO_InitStruct.Pull = GPIO_NOPULL;
  HAL_GPIO_Init(I_IN_BUCK_GPIO_Port, &GPIO_InitStruct);

  GPIO_InitStruct.Pin = ADC_REMOTE_P_Pin|ADC_REMOTE_N_Pin|I_L_MEAS_Pin|
                        ADC_LOCAL_VOUT_Pin|I_L_ZERO_Pin;
  GPIO_InitStruct.Mode = GPIO_MODE_ANALOG;
  GPIO_InitStruct.Pull = GPIO_NOPULL;
  HAL_GPIO_Init(GPIOB, &GPIO_InitStruct);

  GPIO_InitStruct.Pin = ADC_VBUS_Pin;
  GPIO_InitStruct.Mode = GPIO_MODE_ANALOG;
  GPIO_InitStruct.Pull = GPIO_NOPULL;
  HAL_GPIO_Init(ADC_VBUS_GPIO_Port, &GPIO_InitStruct);

  /* I2C_USBPD_IRQ PB9; USART2 G0 on PB3/PB4; PERMIT PB7. */
  HAL_NVIC_SetPriority(EXTI9_5_IRQn, 5, 0);
  HAL_NVIC_EnableIRQ(EXTI9_5_IRQn);
  HAL_NVIC_SetPriority(EXTI15_10_IRQn, 5, 0);
  HAL_NVIC_EnableIRQ(EXTI15_10_IRQn);

}

/* USER CODE BEGIN 4 */
/* CubeMX workflow: Keep User Code ON, Generate, do not edit MX_* bodies.
 * Pins/clocks/peripherals belong in Lab_PD_PSU.ioc so they show in CubeMX. */
/* USER CODE END 4 */

void Error_Handler(void)
{
  /* USER CODE BEGIN Error_Handler_Debug */
  __disable_irq();
  while (1) {
    BoardMx_FaultLedTick();
  }
  /* USER CODE END Error_Handler_Debug */
}
